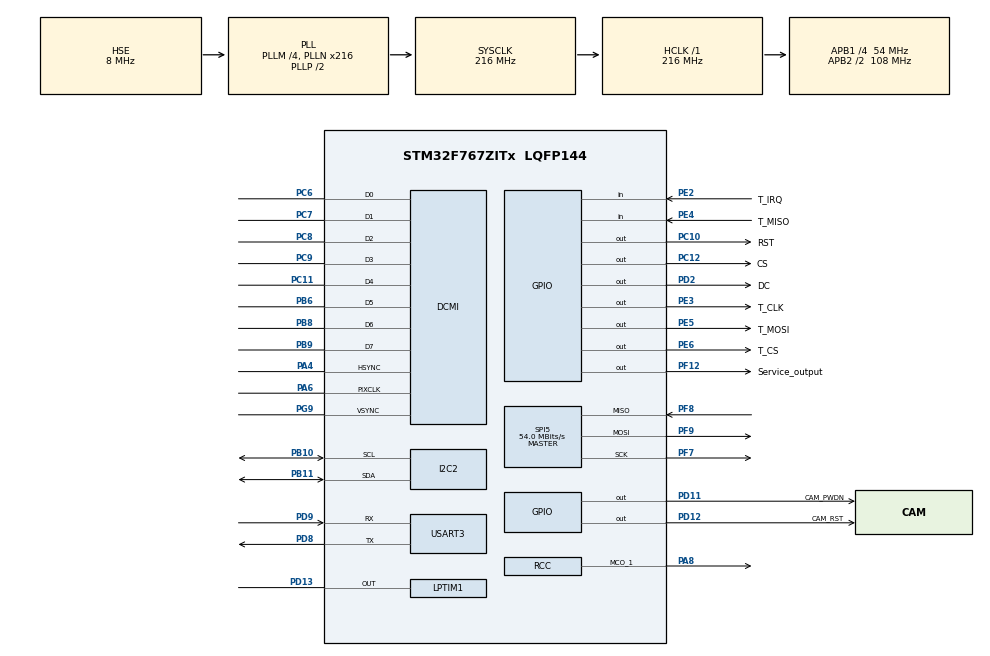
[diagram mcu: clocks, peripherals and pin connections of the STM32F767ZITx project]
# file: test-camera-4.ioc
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CORTEX_M7.ART_ACCELERATOR_ENABLE=1
CORTEX_M7.CPU_DCache=Enabled
CORTEX_M7.CPU_ICache=Enabled
CORTEX_M7.MPU_Control=__NULL
CORTEX_M7.PREFETCH_ENABLE=1
CORTEX_M7.default_mode_Activation=1
DCMI.HSPolarity=DCMI_HSPOLARITY_LOW
DCMI.PCKPolarity=DCMI_PCKPOLARITY_RISING
DCMI.VSPolarity=DCMI_VSPOLARITY_HIGH
Dma.DCMI.0.Direction=DMA_PERIPH_TO_MEMORY
Dma.DCMI.0.FIFOMode=DMA_FIFOMODE_DISABLE
Dma.DCMI.0.Instance=DMA2_Stream1
Dma.DCMI.0.MemDataAlignment=DMA_MDATAALIGN_WORD
Dma.DCMI.0.MemInc=DMA_MINC_ENABLE
Dma.DCMI.0.Mode=DMA_CIRCULAR
Dma.DCMI.0.PeriphDataAlignment=DMA_PDATAALIGN_WORD
Dma.DCMI.0.PeriphInc=DMA_PINC_DISABLE
Dma.DCMI.0.Priority=DMA_PRIORITY_LOW
Dma.Request0=DCMI
I2C2.Timing=0x20404768
Mcu.Family=STM32F7
Mcu.Name=STM32F767ZITx
Mcu.Package=LQFP144
NVIC.DCMI_IRQn=true\:1\:0\:true\:false\:true\:true\:true\:true
NVIC.DMA2_Stream1_IRQn=true\:0\:0\:true\:false\:true\:false\:true\:true
NVIC.PriorityGroup=NVIC_PRIORITYGROUP_4
PA4.GPIO_PuPd=GPIO_NOPULL
PA4.GPIO_Speed=GPIO_SPEED_FREQ_VERY_HIGH
PA4.Mode=Slave_8_bits_External_Synchro
PA4.Signal=DCMI_HSYNC
PA6.GPIO_PuPd=GPIO_PULLDOWN
PA6.GPIO_Speed=GPIO_SPEED_FREQ_VERY_HIGH
PA6.Mode=Slave_8_bits_External_Synchro
PA6.Signal=DCMI_PIXCLK
PA8.Mode=Clock-out-1
PA8.Signal=RCC_MCO_1
PB10.GPIO_Pu=GPIO_PULLUP
PB10.GPIO_Speed=GPIO_SPEED_FREQ_VERY_HIGH
PB10.Mode=I2C
PB10.Signal=I2C2_SCL
PB11.GPIO_Pu=GPIO_PULLUP
PB11.GPIO_Speed=GPIO_SPEED_FREQ_VERY_HIGH
PB11.Mode=I2C
PB11.Signal=I2C2_SDA
PB6.GPIO_PuPd=GPIO_PULLDOWN
PB6.GPIO_Speed=GPIO_SPEED_FREQ_VERY_HIGH
PB6.Mode=Slave_8_bits_External_Synchro
PB6.Signal=DCMI_D5
PB8.GPIO_PuPd=GPIO_PULLDOWN
PB8.GPIO_Speed=GPIO_SPEED_FREQ_VERY_HIGH
PB8.Mode=Slave_8_bits_External_Synchro
PB8.Signal=DCMI_D6
PB9.GPIO_PuPd=GPIO_PULLDOWN
PB9.GPIO_Speed=GPIO_SPEED_FREQ_VERY_HIGH
PB9.Mode=Slave_8_bits_External_Synchro
PB9.Signal=DCMI_D7
PC10.GPIO_Label=RST
PC10.GPIO_Speed=GPIO_SPEED_FREQ_VERY_HIGH
PC10.Signal=GPIO_Output
PC11.GPIO_PuPd=GPIO_PULLDOWN
PC11.GPIO_Speed=GPIO_SPEED_FREQ_VERY_HIGH
PC11.Mode=Slave_8_bits_External_Synchro
PC11.Signal=DCMI_D4
PC12.GPIO_Label=CS
PC12.GPIO_Speed=GPIO_SPEED_FREQ_VERY_HIGH
PC12.Signal=GPIO_Output
PC14/OSC32_IN.Mode=LSE-External-Oscillator
PC14/OSC32_IN.Signal=RCC_OSC32_IN
PC15/OSC32_OUT.Mode=LSE-External-Oscillator
PC15/OSC32_OUT.Signal=RCC_OSC32_OUT
PC6.GPIO_PuPd=GPIO_PULLDOWN
PC6.GPIO_Speed=GPIO_SPEED_FREQ_VERY_HIGH
PC6.Mode=Slave_8_bits_External_Synchro
PC6.Signal=DCMI_D0
PC7.GPIO_PuPd=GPIO_PULLDOWN
PC7.GPIO_Speed=GPIO_SPEED_FREQ_VERY_HIGH
PC7.Mode=Slave_8_bits_External_Synchro
PC7.Signal=DCMI_D1
PC8.GPIO_PuPd=GPIO_PULLDOWN
PC8.GPIO_Speed=GPIO_SPEED_FREQ_VERY_HIGH
PC8.Mode=Slave_8_bits_External_Synchro
PC8.Signal=DCMI_D2
PC9.GPIO_PuPd=GPIO_PULLDOWN
PC9.GPIO_Speed=GPIO_SPEED_FREQ_VERY_HIGH
PC9.Mode=Slave_8_bits_External_Synchro
PC9.Signal=DCMI_D3
PD11.GPIO_Label=CAM_PWDN
PD11.GPIO_Speed=GPIO_SPEED_FREQ_VERY_HIGH
PD11.Signal=GPIO_Output
PD12.GPIO_Label=CAM_RST
PD12.GPIO_Speed=GPIO_SPEED_FREQ_VERY_HIGH
PD12.Signal=GPIO_Output
PD13.Mode=WaveformGeneration
PD13.Signal=LPTIM1_OUT
PD2.GPIO_Label=DC
PD2.GPIO_Speed=GPIO_SPEED_FREQ_VERY_HIGH
PD2.Signal=GPIO_Output
PD8.Mode=Asynchronous
PD8.Signal=USART3_TX
PD9.Mode=Asynchronous
PD9.Signal=USART3_RX
PE2.GPIO_Label=T_IRQ
PE2.Signal=GPIO_Input
PE3.GPIO_Label=T_CLK
PE3.GPIO_Speed=GPIO_SPEED_FREQ_VERY_HIGH
PE3.Signal=GPIO_Output
PE4.GPIO_Label=T_MISO
PE4.Signal=GPIO_Input
PE5.GPIO_Label=T_MOSI
PE5.GPIO_Speed=GPIO_SPEED_FREQ_VERY_HIGH
PE5.Signal=GPIO_Output
PE6.GPIO_Label=T_CS
PE6.GPIO_Speed=GPIO_SPEED_FREQ_VERY_HIGH
PE6.Signal=GPIO_Output
PF12.GPIO_Label=Service_output
PF12.Signal=GPIO_Output
PF7.Mode=Full_Duplex_Master
PF7.Signal=SPI5_SCK
PF8.Mode=Full_Duplex_Master
PF8.Signal=SPI5_MISO
PF9.Mode=Full_Duplex_Master
PF9.Signal=SPI5_MOSI
PG9.GPIO_PuPd=GPIO_PULLDOWN
PG9.GPIO_Speed=GPIO_SPEED_FREQ_VERY_HIGH
PG9.Mode=Slave_8_bits_External_Synchro
PG9.Signal=DCMI_VSYNC
PH0/OSC_IN.Mode=HSE-External-Clock-Source
PH0/OSC_IN.Signal=RCC_OSC_IN
PH1/OSC_OUT.Mode=HSE-External-Clock-Source
PH1/OSC_OUT.Signal=RCC_OSC_OUT
ProjectManager.HeapSize=0x800
ProjectManager.StackSize=0x800
ProjectManager.TargetToolchain=STM32CubeIDE
RCC.AHBFreq_Value=216000000
RCC.APB1CLKDivider=RCC_HCLK_DIV4
RCC.APB1Freq_Value=54000000
RCC.APB1TimFreq_Value=108000000
RCC.APB2CLKDivider=RCC_HCLK_DIV2
RCC.APB2Freq_Value=108000000
RCC.APB2TimFreq_Value=216000000
RCC.CortexFreq_Value=216000000
RCC.HCLKFreq_Value=216000000
RCC.HSE_VALUE=8000000
RCC.HSI_VALUE=16000000
RCC.PLLM=4
RCC.PLLMUL=RCC_PLL_MUL9
RCC.PLLN=216
RCC.PLLP=2
RCC.PLLQ=9
RCC.PLLSourceVirtual=RCC_PLLSOURCE_HSE
RCC.PRESCALERUSB=RCC_USBCLKSOURCE_PLL_DIV1_5
RCC.RCC_MCO1Source=RCC_MCO1SOURCE_PLLCLK
RCC.RCC_MCODiv1=RCC_MCODIV_4
RCC.SYSCLKFreq_VALUE=216000000
RCC.SYSCLKSource=RCC_SYSCLKSOURCE_PLLCLK
RCC.SYSCLKSourceVirtual=RCC_SYSCLKSOURCE_PLLCLK
RCC.USBFreq_Value=48000000
RCC.VCOOutputFreq_Value=432000000
SPI5.CalculateBaudRate=54.0 MBits/s
SPI5.DataSize=SPI_DATASIZE_8BIT
SPI5.Direction=SPI_DIRECTION_2LINES
SPI5.Mode=SPI_MODE_MASTER
SPI5.NSSPMode=SPI_NSS_PULSE_DISABLE
SPI5.VirtualType=VM_MASTER
STMicroelectronics.X-CUBE-AI.9.0.0.ActivationBufferSizeList=65536
STMicroelectronics.X-CUBE-AI.9.0.0.ActivationBuffers=pool0
STMicroelectronics.X-CUBE-AI.9.0.0.ActivationNames=pool0
STMicroelectronics.X-CUBE-AI.9.0.0.ActivationSizes=AI_NETWORK_DATA_ACTIVATION_1_SIZE
STMicroelectronics.X-CUBE-AI.9.0.0.HeapSize=0x800
STMicroelectronics.X-CUBE-AI.9.0.0.InternalRamActivationBufferMaxSize=AI_NETWORK_DATA_ACTIVATIONS_SIZE
STMicroelectronics.X-CUBE-AI.9.0.0.LatestDirectoryUsed-5d6e50eb5396c89771621d7edf99566e48d049a5425db83713c8b8b1b8511454=C\:\\Users\\jirap\\Downloads
STMicroelectronics.X-CUBE-AI.9.0.0.MaximumNumberOfInputLayer=1
STMicroelectronics.X-CUBE-AI.9.0.0.MaximumNumberOfOutputLayer=1
STMicroelectronics.X-CUBE-AI.9.0.0.MaximumSizeOfInputLayer=1
STMicroelectronics.X-CUBE-AI.9.0.0.MaximumSizeOfOutputLayer=1
STMicroelectronics.X-CUBE-AI.9.0.0.ModelActualCompression-5d6e50eb5396c89771621d7edf99566e48d049a5425db83713c8b8b1b8511454=0.0
STMicroelectronics.X-CUBE-AI.9.0.0.ModelCompression-5d6e50eb5396c89771621d7edf99566e48d049a5425db83713c8b8b1b8511454=None
STMicroelectronics.X-CUBE-AI.9.0.0.ModelFlashOccupation-5d6e50eb5396c89771621d7edf99566e48d049a5425db83713c8b8b1b8511454=308592
STMicroelectronics.X-CUBE-AI.9.0.0.ModelHashList=5d6e50eb5396c89771621d7edf99566e48d049a5425db83713c8b8b1b8511454
STMicroelectronics.X-CUBE-AI.9.0.0.ModelKind-5d6e50eb5396c89771621d7edf99566e48d049a5425db83713c8b8b1b8511454=TFLITE
STMicroelectronics.X-CUBE-AI.9.0.0.ModelMacc-5d6e50eb5396c89771621d7edf99566e48d049a5425db83713c8b8b1b8511454=9176731
STMicroelectronics.X-CUBE-AI.9.0.0.ModelName-5d6e50eb5396c89771621d7edf99566e48d049a5425db83713c8b8b1b8511454=network
STMicroelectronics.X-CUBE-AI.9.0.0.ModelNameList=network
STMicroelectronics.X-CUBE-AI.9.0.0.ModelRamOccupation-5d6e50eb5396c89771621d7edf99566e48d049a5425db83713c8b8b1b8511454=65536
STMicroelectronics.X-CUBE-AI.9.0.0.ModelStructureFile-5d6e50eb5396c89771621d7edf99566e48d049a5425db83713c8b8b1b8511454=C\:\\Users\\jirap\\Downloads\\best_full_integer_quant (1).tflite
STMicroelectronics.X-CUBE-AI.9.0.0.ModelType-5d6e50eb5396c89771621d7edf99566e48d049a5425db83713c8b8b1b8511454=STM32Cube.AI MCU runtime
STMicroelectronics.X-CUBE-AI.9.0.0.ReadyForCodeGeneration=true
STMicroelectronics.X-CUBE-AI.9.0.0.StackSize=0x800
STMicroelectronics.X-CUBE-AI.9.0.0.WorkingBufferStartAddrList=0xFFFFFFFF
STMicroelectronics.X-CUBE-AI.9.0.0.XAaCUBEAaAICcArtificialOoIntelligenceJjCore=true
STMicroelectronics.X-CUBE-AI.9.0.0.copyWeightToRam=false
STMicroelectronics.X-CUBE-AI.9.0.0.copyWeightToRam-5d6e50eb5396c89771621d7edf99566e48d049a5425db83713c8b8b1b8511454=false
STMicroelectronics.X-CUBE-AI.9.0.0.customLayerConfigEnabled=false
STMicroelectronics.X-CUBE-AI.9.0.0.customLayerConfigEnabled-5d6e50eb5396c89771621d7edf99566e48d049a5425db83713c8b8b1b8511454=false
STMicroelectronics.X-CUBE-AI.9.0.0.noOnnxIoTranspose=false
STMicroelectronics.X-CUBE-AI.9.0.0.noOnnxIoTranspose-5d6e50eb5396c89771621d7edf99566e48d049a5425db83713c8b8b1b8511454=false
STMicroelectronics.X-CUBE-AI.9.0.0.optimization=time
STMicroelectronics.X-CUBE-AI.9.0.0.useInputAllocation=true
STMicroelectronics.X-CUBE-AI.9.0.0.useInputAllocation-5d6e50eb5396c89771621d7edf99566e48d049a5425db83713c8b8b1b8511454=true
STMicroelectronics.X-CUBE-AI.9.0.0.useOutputAllocation=true
STMicroelectronics.X-CUBE-AI.9.0.0.useOutputAllocation-5d6e50eb5396c89771621d7edf99566e48d049a5425db83713c8b8b1b8511454=true
TIM1.ClockDivision=TIM_CLOCKDIVISION_DIV2
TIM1.Period=0
TIM1.Prescaler=10000
USART3.VirtualMode-Asynchronous=VM_ASYNC
VP_LPTIM1_VS_LPTIM_counterModeInternalClock.Mode=Counts__internal_clock_event_00
VP_STMicroelectronics.X-CUBE-AI_VS_ArtificialOoIntelligenceJjXAaCUBEAaAI_9.0.0.Mode=ArtificialOoIntelligenceJjXAaCUBEAaAI
VP_TIM1_VS_ClockSourceINT.Mode=Internal
board=custom

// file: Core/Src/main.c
/* USER CODE BEGIN Header */
/**
  ******************************************************************************
  * @file           : main.c
  * @brief          : Main program body
  ******************************************************************************
  * @attention
  *
  * Copyright (c) 2024 STMicroelectronics.
  * All rights reserved.
  *
  * This software is licensed under terms that can be found in the LICENSE file
  * in the root directory of this software component.
  * If no LICENSE file comes with this software, it is provided AS-IS.
  *
  ******************************************************************************
  */
/* USER CODE END Header */
#include "main.h"
#include "dcmi.h"
#include "dma.h"
#include "i2c.h"
#include "lptim.h"
#include "spi.h"
#include "tim.h"
#include "usart.h"
#include "gpio.h"

/* USER CODE BEGIN Includes */
#include "stdio.h"

#include "ILI9341_GFX.h"
#include "ILI9341_STM32_Driver.h"
#include "ILI9341_Touchscreen.h"

#include "OV7670.h"

#include "color_conversion.h"

#include "network.h"
#include "network_data.h"

//#include "ai_datatypes_defines.h"
//#include "ai_platform.h"
//#include "network.h"
//#include "network_data.h"
/* USER CODE END Includes */

/* USER CODE BEGIN PTD */
extern DCMI_HandleTypeDef hdcmi;
extern DMA_HandleTypeDef hdma_dcmi;

extern I2C_HandleTypeDef hi2c2;

extern LPTIM_HandleTypeDef hlptim1;
/* USER CODE END PTD */

/* USER CODE BEGIN PV */

#define IMAGE_SIZE 128
#define MAX_OUT_CHANNEL 84
#define PRED_BOUND 64

#define MAX(a,b) ((a) > (b) ? (a) : (b))
#define MIN(a,b) ((a) < (b) ? (a) : (b))

struct YoloOut {
	uint16_t x;
	uint16_t y;
	uint16_t width;
	uint16_t height;
	float class_prob;
	uint8_t class_pred;
};

bool keep_structs[MAX_OUT_CHANNEL] = { false };
float scales = 0.05172783136367798;
int8_t zero_points = -124;
float pred_threshold = 0.45;

struct YoloOut *postprocess(struct YoloOut *yolo_outs);

void unpack_output_to_struct(struct YoloOut *yolo_outs);

void ai_data_process();

ai_i8 activations[AI_NETWORK_DATA_ACTIVATIONS_SIZE];
ai_i8 out_data[AI_NETWORK_OUT_1_SIZE_BYTES];

ai_buffer *ai_input;
ai_buffer *ai_output;

Camera_settings OV7670_settings={
		QCIF, 		//Resolution
		RGB565, 	//Format
		NORMAL, 	//Effect
		ON,			//AEC
		ON, 		//AGC
		ON, 		//AWB
		OFF,		//Color bar
		OFF,		//vertical flip
		OFF,			//Horizontal flip
		OFF,		//Night mode
		OFF,		//ASC
		ON,			//De-noise
		ON,			//Banding filter
		HISTOGRAM,	//AEC algorithm
		NORMAL_FPS, //Min. fps in night mode
		F_AUTO,		//Auto detect banding freq.
		256, 		//Exposure - 2 bytes
		0, 			//Gain	[0-7]=[1-128]
		50,		//Brightness - byte
		64, 		//Contrast - byte
		80, 		//Saturation - byte
		20,			//Sharpness	- [0-31]
		0,			//De-noise strength - byte
		x16, 		//Gain ceiling
		25, 		//R channel gain - byte
		25, 		//G channel gain - byte
		0			//B channel gain - byte
};

uint16_t width, height;
uint8_t format;

_Bool frame_transfer_cplt_flag = 0;
uint32_t buffer_image[176 * 72] = {0}; //max resolution is CIF
uint8_t screen_image[320*240*2] = {0};
int8_t image_data[128 * 128 * 3];

/* USER CODE END PV */

void SystemClock_Config(void);

/* USER CODE BEGIN 0 */
int _write(int file, char *ptr, int len){
	HAL_UART_Transmit(&huart3, (uint8_t*) ptr, len, HAL_MAX_DELAY);
	return len;
}

int yolo_out_comparer(const void *a, const void *b) {
    const struct YoloOut *box_1 = (struct YoloOut *)a;
    const struct YoloOut *box_2 = (struct YoloOut *)b;

    if (box_1->class_prob > box_2->class_prob) {
        return -1;
    }
    else if (box_1->class_prob < box_2->class_prob) {
        return 1;
    }
    else {
        return 0;
    }
}

float cal_IOU(const struct YoloOut *ref, const struct YoloOut *candi) {
    //หาซ้ายบน
	uint8_t x1_inter = MAX(ref->x - ref->width / 2, candi->x - candi->width / 2);
	uint8_t y1_inter = MAX(ref->y - ref->height / 2, candi->y - candi->height / 2);

    //หาขวาล่าง
	uint8_t x2_inter = MIN(ref->x + ref->width / 2, candi->x + candi->width / 2);
	uint8_t y2_inter = MIN(ref->y + ref->height / 2, candi->y + candi->height / 2);

	uint8_t inter_width = MAX(0, x2_inter - x1_inter);
	uint8_t inter_height = MAX(0, y2_inter - y1_inter);

    float intersection_area = 0;

    if (inter_width && inter_height) {
        intersection_area = inter_width * inter_height;
    }
    else {
        return 0;
    }

    uint16_t ref_area = ref->width * ref->height;
    uint16_t candi_area = candi->width * candi->height;

    float iou = intersection_area / (ref_area + candi_area - intersection_area);
    return iou;
}

void display_yolo_struct(struct YoloOut output) {
    printf("x: %u, y: %u, w: %u, h: %u, class_prob: %f, class_pred: %u\r\n",
            output.x,
            output.y,
            output.width,
            output.height,
            output.class_prob,
            output.class_pred
        );
}

void display_yolo_outs(struct YoloOut *yolo_outs) {
    for (uint8_t i = 0; i < MAX_OUT_CHANNEL; i++) {
        if (keep_structs[i]) {
            display_yolo_struct(yolo_outs[i]);
        }
    }
}

float dequantize(int value) {
	return scales*(value - zero_points);
}

void unpack_output_to_struct(struct YoloOut *yolo_outs) {
    for (int i = 0; i < MAX_OUT_CHANNEL; i++) {
        struct YoloOut box;

        box.x = (uint16_t)(dequantize(out_data[i]) * 128);
        box.y = (uint16_t)(dequantize(out_data[i + MAX_OUT_CHANNEL]) * 128);
        box.width = (uint16_t)(dequantize(out_data[i + MAX_OUT_CHANNEL*2]) * 128);
        box.height = (uint16_t)(dequantize(out_data[i + MAX_OUT_CHANNEL*3]) * 128);

        float class_1 = dequantize(out_data[i + MAX_OUT_CHANNEL*4]);
        float class_2 = dequantize(out_data[i + MAX_OUT_CHANNEL*5]);

        if (class_1 > class_2) {
            box.class_prob = class_1;
            box.class_pred = 0;
        }
        else {
            box.class_prob = class_2;
            box.class_pred = 1;
        }

        yolo_outs[i] = box;
    }
}

struct YoloOut *get_servo_output(struct YoloOut *ref, struct YoloOut *cur) {
    if (
        cur->x >= PRED_BOUND &&
        cur->x > ref->x ||
        (cur->x == ref->x && cur->width > ref->width)
    ) {
        return cur;
    }

    return ref;
}

bool NMS_optimize(
    struct YoloOut *yolo_outs,
    struct YoloOut *current_box,
	uint8_t idx,
    float iou_threshold
) {
    if (current_box->class_prob <= pred_threshold) {
      keep_structs[idx] = false;
      return false;
    }

    float area = current_box->width*current_box->height;
    if(area <= 1200 || area >= 8100){
    	keep_structs[idx] = false;
    	return false;
    }

    bool flag = 1;
    for (uint8_t i = 0; i < MAX_OUT_CHANNEL; i++) {
        if (!keep_structs[i]) {
            continue;
        }

        struct YoloOut *ref_box = &yolo_outs[i];

        if (current_box->class_prob <= pred_threshold ||
            cal_IOU(ref_box, current_box) >= iou_threshold
        ) {
            flag = 0;
            keep_structs[idx] = false;
            break;
        }

    }

    return flag;
}

struct YoloOut *postprocess(struct YoloOut *yolo_outs) {
    qsort(yolo_outs, MAX_OUT_CHANNEL, sizeof(struct YoloOut), yolo_out_comparer);

    struct YoloOut *servo_out = &yolo_outs[0];

    if (servo_out->class_prob <= pred_threshold) {
    	for (uint8_t i = 0; i < MAX_OUT_CHANNEL; i++) {
    		keep_structs[i] = false;
    	}

    	return NULL;
    }

    for (uint8_t i = 1; i < MAX_OUT_CHANNEL; i++) {
        struct YoloOut *current_box = &yolo_outs[i];

        if (NMS_optimize(yolo_outs, current_box, i, 0.3)) {
            keep_structs[i] = true;
            servo_out = get_servo_output(yolo_outs, current_box);
        }
    }

    return servo_out;
}

void draw_bounding_box(struct YoloOut *yolo_outs, float row_scaler, float col_scaler) {

	for (uint8_t i = 0; i < MAX_OUT_CHANNEL; i++) {
		if(keep_structs[i]) {

			uint16_t color = yolo_outs[i].class_pred ? RED : GREEN;

			uint16_t yolo_width = (yolo_outs[i].width*row_scaler)/2;
			uint16_t x_pos = yolo_outs[i].x*row_scaler;

			uint16_t yolo_height = (yolo_outs[i].height*col_scaler)/2;
			uint16_t y_pos = yolo_outs[i].y*col_scaler;

			ILI9341_Draw_Hollow_Rectangle_Coord(
					x_pos - yolo_width,
					y_pos - yolo_height,
					x_pos + yolo_width,
					y_pos + yolo_height,
					color
			);
		}
	}
}

void plt_screen(struct YoloOut *yolo_outs) {

    uint32_t px=0;
	uint16_t half_width = 88;

	float row_scaler = 128.0/240;
	float col_scaler = 64.0/160;

	for (uint32_t row = 0; row < 240; row++) {
		uint8_t row_pos = row_scaler * row;

//	  px = 640*row;

	  for (uint32_t col = 0; col < 160; col++) {
		  uint8_t col_pos = col_scaler * col;

		  uint32_t cur_pixel = buffer_image[row_pos*half_width + col_pos];

		  screen_image[px] = (cur_pixel >> 24) & 0xFF;
		  screen_image[px + 1] = (cur_pixel >> 16) & 0xFF;
		  screen_image[px + 2] = (cur_pixel >> 8) & 0xFF;
		  screen_image[px + 3] = cur_pixel & 0xFF;

		  px += 4;
	  }
	}

	ILI9341_Draw_Image((const char*) screen_image, SCREEN_HORIZONTAL_1);

	draw_bounding_box(yolo_outs, 320.0/128, 240.0/128);

//	ILI9341_Draw_Vertical_Line(80, 0, 240, CYAN);

}

void ai_data_process() {
	  struct YoloOut yolo_outs[MAX_OUT_CHANNEL];
//
	  unpack_output_to_struct(yolo_outs);
//
	  struct YoloOut *servo_output = postprocess(yolo_outs);

	  if (servo_output != NULL) {
		  printf("servo out: ");
		  display_yolo_struct(*servo_output);
		  display_yolo_outs(yolo_outs);
		  printf("\n");

		  HAL_GPIO_WritePin(GPIOF, GPIO_PIN_12, servo_output->class_pred);
	  }

	  plt_screen(yolo_outs);
}

void preprocess() {
	const volatile uint8_t half_width = 88;
	const volatile uint8_t half_image = IMAGE_SIZE/2;

    for (uint16_t offset = 0; offset < IMAGE_SIZE*half_image; offset++) {
    		uint16_t px = offset*6;
    		uint32_t pixel_pointer = (offset/half_image)*half_width + offset%half_image;

            uint16_t upper = (buffer_image[pixel_pointer] >> 16) ;
            uint16_t lower = buffer_image[pixel_pointer] & 0xFFFF;

            int rgb_upper[3] = {
    			( (float) ((upper >> 11) & 0x1F)/ 31) * 255 - 128,
				( (float) ((upper >> 5) & 0x3F)/ 63) * 255 - 128,
				( (float) (upper & 0x1F)/31 * 255 ) - 128
            };

            int rgb_lower[3] = {
				( (float) ((lower >> 11) & 0x1F)/ 31) * 255 - 128,
				( (float) ((lower >> 5) & 0x3F)/ 63) * 255 - 128,
				( (float) (lower & 0x1F)/31 * 255 ) - 128
            };

            image_data[px] = rgb_upper[0];
            image_data[px + 1] = rgb_upper[1];
            image_data[px + 2] = rgb_upper[2];

            image_data[px + 3] = rgb_lower[0];
			image_data[px + 4] = rgb_lower[1];
			image_data[px + 5] = rgb_lower[2];
    }

}
/* USER CODE END 0 */

int main(void)
{

  /* Enable the CPU Cache */

  /* Enable I-Cache---------------------------------------------------------*/
  SCB_EnableICache();

  /* Enable D-Cache---------------------------------------------------------*/
  SCB_EnableDCache();

  /* MCU Configuration--------------------------------------------------------*/

  /* Reset of all peripherals, Initializes the Flash interface and the Systick. */
  HAL_Init();

  /* Configure the system clock */
  SystemClock_Config();

  /* Initialize all configured peripherals */
  MX_GPIO_Init();
  MX_DMA_Init();
  MX_DCMI_Init();
  MX_LPTIM1_Init();
  MX_SPI5_Init();
  MX_TIM1_Init();
  MX_I2C2_Init();
  MX_USART3_UART_Init();
  /* USER CODE BEGIN 2 */

  OV7670_Power(DISABLE);

  ILI9341_Init();

  //I2C2 is used for SCCB and LPTIM1 for XLCK generation
  OV7670_Init(&hdcmi, &hdma_dcmi, &hi2c2, &hlptim1);

  OV7670_PowerUp();
  OV7670_UpdateSettings(OV7670_settings);
  OV7670_SetFrameRate(XCLK_DIV(1), PLL_x4);
  HAL_Delay(10);

  OV7670_Start(SNAPSHOT, buffer_image);
  OV7670_getImageInfo(&width,&height,&format);

  ILI9341_Set_Rotation(SCREEN_HORIZONTAL_2);

  HAL_Delay(100);

  ai_handle network = AI_HANDLE_NULL;
  	    ai_error err;
  	    ai_network_report report;

  	    /** @brief Initialize network */
  	    const ai_handle acts[] = { activations };
  	    err = ai_network_create_and_init(&network, acts, NULL);
  	    if (err.type != AI_ERROR_NONE) {
  	        printf("ai init_and_create error\r\n");
  	        return -1;
  	    }

  	    /** @brief {optional} for debug/log purpose */
  	    if (ai_network_get_report(network, &report) != true) {
  	        printf("ai get report error\r\n");
  	        return -1;
  	    }

  	    printf("Model name      : %s\r\n", report.model_name);
  	    printf("Model signature : %s\r\n", report.model_signature);

  	    ai_input = &report.inputs[0];
  	    ai_output = &report.outputs[0];
  	    printf("input[0] : (%lu, %lu, %lu)\r\n", AI_BUFFER_SHAPE_ELEM(ai_input, AI_SHAPE_HEIGHT),
  	                                        AI_BUFFER_SHAPE_ELEM(ai_input, AI_SHAPE_WIDTH),
  	                                        AI_BUFFER_SHAPE_ELEM(ai_input, AI_SHAPE_CHANNEL));
  	    printf("output[0] : (%ld, %ld, %ld)\r\n", AI_BUFFER_SHAPE_ELEM(ai_output, AI_SHAPE_HEIGHT),
  	                                         AI_BUFFER_SHAPE_ELEM(ai_output, AI_SHAPE_WIDTH),
  	                                         AI_BUFFER_SHAPE_ELEM(ai_output, AI_SHAPE_CHANNEL));

  	    /** @brief Perform inference */
  	    ai_i32 n_batch;

  	    /** @brief Create the AI buffer IO handlers
  	     *  @note  ai_inuput/ai_output are already initilaized after the
  	     *         ai_network_get_report() call. This is just here to illustrate
  	     *         the case where get_report() is not called.
  	     */
  	    ai_input = ai_network_inputs_get(network, NULL);
  	    ai_output = ai_network_outputs_get(network, NULL);

  	    /** @brief Set input/output buffer addresses */
  	    ai_input[0].data = AI_HANDLE_PTR(image_data);
  	    ai_output[0].data = AI_HANDLE_PTR(out_data);

  /* USER CODE END 2 */

  /* Infinite loop */
  while (1)
  {

    /* USER CODE BEGIN 3 */
	  if (frame_transfer_cplt_flag) {
		  preprocess();

		    /** @brief Perform the inference */
		    n_batch = ai_network_run(network, &ai_input[0], &ai_output[0]);
		    if (n_batch != 1) {
		        err = ai_network_get_error(network);
		        printf("ai run error %d, %d\r\n", err.type, err.code);
		      return -1;
		    }
	//
	//	    /** @brief Post-process the output results/predictions */
		    printf("Inference output..\r\n");
	//
		    ai_data_process();

		    frame_transfer_cplt_flag = 0;

			OV7670_Start(SNAPSHOT, buffer_image);
	  }

  }
  /* USER CODE END 3 */
}

void SystemClock_Config(void)
{
  RCC_OscInitTypeDef RCC_OscInitStruct = {0};
  RCC_ClkInitTypeDef RCC_ClkInitStruct = {0};

  /** Configure LSE Drive Capability
  */
  HAL_PWR_EnableBkUpAccess();

  /** Configure the main internal regulator output voltage
  */
  __HAL_RCC_PWR_CLK_ENABLE();
  __HAL_PWR_VOLTAGESCALING_CONFIG(PWR_REGULATOR_VOLTAGE_SCALE1);

  /** Initializes the RCC Oscillators according to the specified parameters
  * in the RCC_OscInitTypeDef structure.
  */
  RCC_OscInitStruct.OscillatorType = RCC_OSCILLATORTYPE_HSE;
  RCC_OscInitStruct.HSEState = RCC_HSE_BYPASS;
  RCC_OscInitStruct.PLL.PLLState = RCC_PLL_ON;
  RCC_OscInitStruct.PLL.PLLSource = RCC_PLLSOURCE_HSE;
  RCC_OscInitStruct.PLL.PLLM = 4;
  RCC_OscInitStruct.PLL.PLLN = 216;
  RCC_OscInitStruct.PLL.PLLP = 2;
  RCC_OscInitStruct.PLL.PLLQ = 9;
  RCC_OscInitStruct.PLL.PLLR = 2;
  if (HAL_RCC_OscConfig(&RCC_OscInitStruct) != HAL_OK)
  {
    Error_Handler();
  }

  /** Activate the Over-Drive mode
  */
  if (HAL_PWREx_EnableOverDrive() != HAL_OK)
  {
    Error_Handler();
  }

  /** Initializes the CPU, AHB and APB buses clocks
  */
  RCC_ClkInitStruct.ClockType = RCC_CLOCKTYPE_HCLK|RCC_CLOCKTYPE_SYSCLK
                              |RCC_CLOCKTYPE_PCLK1|RCC_CLOCKTYPE_PCLK2;
  RCC_ClkInitStruct.SYSCLKSource = RCC_SYSCLKSOURCE_PLLCLK;
  RCC_ClkInitStruct.AHBCLKDivider = RCC_SYSCLK_DIV1;
  RCC_ClkInitStruct.APB1CLKDivider = RCC_HCLK_DIV4;
  RCC_ClkInitStruct.APB2CLKDivider = RCC_HCLK_DIV2;

  if (HAL_RCC_ClockConfig(&RCC_ClkInitStruct, FLASH_LATENCY_7) != HAL_OK)
  {
    Error_Handler();
  }
  HAL_RCC_MCOConfig(RCC_MCO1, RCC_MCO1SOURCE_PLLCLK, RCC_MCODIV_4);
}

void Error_Handler(void)
{
  __disable_irq();
  while (1)
  {
  }
}
